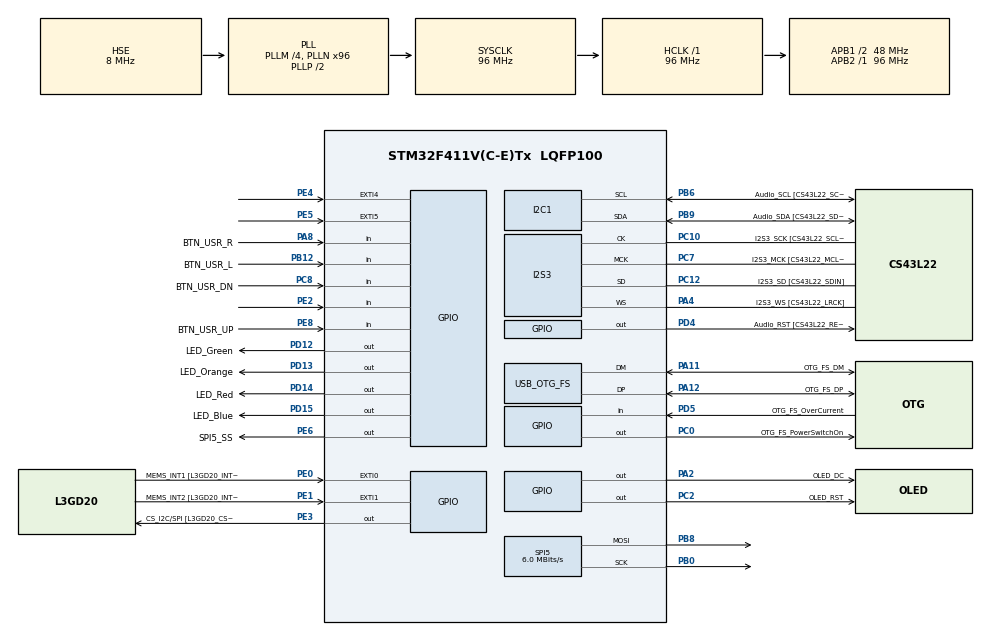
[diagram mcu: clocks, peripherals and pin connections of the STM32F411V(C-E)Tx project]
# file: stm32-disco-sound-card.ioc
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Dma.Request0=SPI3_TX
Dma.Request1=SPI5_TX
Dma.SPI3_TX.0.Direction=DMA_MEMORY_TO_PERIPH
Dma.SPI3_TX.0.FIFOMode=DMA_FIFOMODE_ENABLE
Dma.SPI3_TX.0.FIFOThreshold=DMA_FIFO_THRESHOLD_HALFFULL
Dma.SPI3_TX.0.Instance=DMA1_Stream5
Dma.SPI3_TX.0.MemBurst=DMA_MBURST_SINGLE
Dma.SPI3_TX.0.MemDataAlignment=DMA_MDATAALIGN_HALFWORD
Dma.SPI3_TX.0.MemInc=DMA_MINC_ENABLE
Dma.SPI3_TX.0.Mode=DMA_CIRCULAR
Dma.SPI3_TX.0.PeriphBurst=DMA_PBURST_SINGLE
Dma.SPI3_TX.0.PeriphDataAlignment=DMA_PDATAALIGN_HALFWORD
Dma.SPI3_TX.0.PeriphInc=DMA_PINC_DISABLE
Dma.SPI3_TX.0.Priority=DMA_PRIORITY_HIGH
Dma.SPI5_TX.1.Direction=DMA_MEMORY_TO_PERIPH
Dma.SPI5_TX.1.FIFOMode=DMA_FIFOMODE_ENABLE
Dma.SPI5_TX.1.FIFOThreshold=DMA_FIFO_THRESHOLD_HALFFULL
Dma.SPI5_TX.1.Instance=DMA2_Stream4
Dma.SPI5_TX.1.MemBurst=DMA_MBURST_SINGLE
Dma.SPI5_TX.1.MemDataAlignment=DMA_MDATAALIGN_BYTE
Dma.SPI5_TX.1.MemInc=DMA_MINC_ENABLE
Dma.SPI5_TX.1.Mode=DMA_NORMAL
Dma.SPI5_TX.1.PeriphBurst=DMA_PBURST_SINGLE
Dma.SPI5_TX.1.PeriphDataAlignment=DMA_PDATAALIGN_BYTE
Dma.SPI5_TX.1.PeriphInc=DMA_PINC_DISABLE
Dma.SPI5_TX.1.Priority=DMA_PRIORITY_LOW
I2S3.AudioFreq=I2S_AUDIOFREQ_48K
I2S3.DataFormat=I2S_DATAFORMAT_24B
I2S3.ErrorAudioFreq=0.0 %
I2S3.FullDuplexMode=I2S_FULLDUPLEXMODE_DISABLE
I2S3.Instance=SPI$Index
I2S3.RealAudioFreq=48.0 KHz
I2S3.VirtualMode=I2S_MODE_MASTER
Mcu.Family=STM32F4
Mcu.Name=STM32F411V(C-E)Tx
Mcu.Package=LQFP100
NVIC.DMA1_Stream5_IRQn=true\:0\:0\:false\:false\:true\:false\:true\:true
NVIC.DMA2_Stream4_IRQn=true\:0\:0\:false\:false\:true\:false\:true\:true
NVIC.OTG_FS_IRQn=true\:0\:0\:false\:false\:true\:true\:true\:true
NVIC.PriorityGroup=NVIC_PRIORITYGROUP_0
PA10.GPIO_Label=OTG_FS_ID
PA10.Signal=USB_OTG_FS_ID
PA11.GPIO_Label=OTG_FS_DM
PA11.Mode=Device_Only
PA11.Signal=USB_OTG_FS_DM
PA12.GPIO_Label=OTG_FS_DP
PA12.Mode=Device_Only
PA12.Signal=USB_OTG_FS_DP
PA13.GPIO_Label=SWDIO
PA13.Mode=Serial_Wire
PA13.Signal=SYS_JTMS-SWDIO
PA14.GPIO_Label=SWCLK
PA14.Mode=Serial_Wire
PA14.Signal=SYS_JTCK-SWCLK
PA2.GPIO_Label=OLED_DC
PA2.GPIO_Speed=GPIO_SPEED_FREQ_MEDIUM
PA2.PinState=GPIO_PIN_SET
PA2.Signal=GPIO_Output
PA4.GPIO_Label=I2S3_WS [CS43L22_LRCK]
PA4.GPIO_Mode=GPIO_MODE_AF_PP
PA4.GPIO_PuPd=GPIO_NOPULL
PA4.GPIO_Speed=GPIO_SPEED_FREQ_LOW
PA4.Mode=Half_Duplex_Master
PA4.Signal=I2S3_WS
PA5.GPIO_Label=SPI1_SCK [L3GD20_SC/SPC]
PA5.Signal=SPI1_SCK
PA6.GPIO_Label=SPI1_MISO [L3GD20_AS0/SDO]
PA6.Signal=SPI1_MISO
PA7.GPIO_Label=SPI1_MOSI [L3GD20_SDA/SDI/SDO]
PA7.Signal=SPI1_MOSI
PA8.GPIO_Label=BTN_USR_R
PA8.GPIO_PuPd=GPIO_PULLUP
PA8.Signal=GPIO_Input
PA9.GPIO_Label=VBUS_FS
PA9.Signal=USB_OTG_FS_VBUS
PB0.GPIO_Speed=GPIO_SPEED_FREQ_HIGH
PB0.Mode=TX_Only_Simplex_Unidirect_Master
PB0.Signal=SPI5_SCK
PB10.GPIO_Label=CLK_IN [MP45DT02_CLK]
PB10.Signal=I2S2_CK
PB12.GPIO_Label=BTN_USR_L
PB12.GPIO_Mode=GPIO_MODE_INPUT
PB12.GPIO_PuPd=GPIO_PULLUP
PB12.Signal=GPIO_Input
PB3.GPIO_Label=SWO
PB3.Signal=SYS_JTDO-SWO
PB6.GPIO_Label=Audio_SCL [CS43L22_SCL]
PB6.GPIO_Mode=GPIO_MODE_AF_OD
PB6.GPIO_PuPd=GPIO_NOPULL
PB6.GPIO_Speed=GPIO_SPEED_FREQ_LOW
PB6.Mode=I2C
PB6.Signal=I2C1_SCL
PB8.GPIO_Speed=GPIO_SPEED_FREQ_HIGH
PB8.Mode=TX_Only_Simplex_Unidirect_Master
PB8.Signal=SPI5_MOSI
PB9.GPIO_Label=Audio_SDA [CS43L22_SDA]
PB9.GPIO_Mode=GPIO_MODE_AF_OD
PB9.GPIO_PuPd=GPIO_NOPULL
PB9.GPIO_Speed=GPIO_SPEED_FREQ_LOW
PB9.Mode=I2C
PB9.Signal=I2C1_SDA
PC0.GPIO_Label=OTG_FS_PowerSwitchOn
PC0.PinState=GPIO_PIN_SET
PC0.Signal=GPIO_Output
PC10.GPIO_Label=I2S3_SCK [CS43L22_SCLK]
PC10.GPIO_Mode=GPIO_MODE_AF_PP
PC10.GPIO_PuPd=GPIO_NOPULL
PC10.GPIO_Speed=GPIO_SPEED_FREQ_LOW
PC10.Mode=Half_Duplex_Master
PC10.Signal=I2S3_CK
PC12.GPIO_Label=I2S3_SD [CS43L22_SDIN]
PC12.GPIO_Mode=GPIO_MODE_AF_PP
PC12.GPIO_PuPd=GPIO_NOPULL
PC12.GPIO_Speed=GPIO_SPEED_FREQ_LOW
PC12.Mode=Half_Duplex_Master
PC12.Signal=I2S3_SD
PC14-OSC32_IN.GPIO_Label=PC14-OSC32_IN
PC14-OSC32_IN.Signal=RCC_OSC32_IN
PC15-OSC32_OUT.GPIO_Label=PC15-OSC32_OUT
PC15-OSC32_OUT.Signal=RCC_OSC32_OUT
PC2.GPIO_Label=OLED_RST
PC2.GPIO_Speed=GPIO_SPEED_FREQ_MEDIUM
PC2.Signal=GPIO_Output
PC3.GPIO_Label=PDM_OUT [MP45DT02_DOUT]
PC3.Signal=I2S2_SD
PC7.GPIO_Label=I2S3_MCK [CS43L22_MCLK]
PC7.GPIO_Mode=GPIO_MODE_AF_PP
PC7.GPIO_PuPd=GPIO_NOPULL
PC7.GPIO_Speed=GPIO_SPEED_FREQ_LOW
PC7.Mode=Master_Clock_Activated
PC7.Signal=I2S3_MCK
PC8.GPIO_Label=BTN_USR_DN
PC8.GPIO_PuPd=GPIO_PULLUP
PC8.Signal=GPIO_Input
PD12.GPIO_Label=LED_Green
PD12.GPIO_PuPd=GPIO_NOPULL
PD12.GPIO_Speed=GPIO_SPEED_FREQ_LOW
PD12.Signal=GPIO_Output
PD13.GPIO_Label=LED_Orange
PD13.GPIO_PuPd=GPIO_NOPULL
PD13.GPIO_Speed=GPIO_SPEED_FREQ_LOW
PD13.Signal=GPIO_Output
PD14.GPIO_Label=LED_Red
PD14.GPIO_PuPd=GPIO_NOPULL
PD14.GPIO_Speed=GPIO_SPEED_FREQ_LOW
PD14.Signal=GPIO_Output
PD15.GPIO_Label=LED_Blue
PD15.GPIO_PuPd=GPIO_NOPULL
PD15.GPIO_Speed=GPIO_SPEED_FREQ_LOW
PD15.Signal=GPIO_Output
PD4.GPIO_Label=Audio_RST [CS43L22_RESET]
PD4.Signal=GPIO_Output
PD5.GPIO_Label=OTG_FS_OverCurrent
PD5.Signal=GPIO_Input
PE0.GPIO_Label=MEMS_INT1 [L3GD20_INT1]
PE0.GPIO_ModeDefaultEXTI=GPIO_MODE_EVT_RISING
PE0.Signal=GPXTI0
PE1.GPIO_Label=MEMS_INT2 [L3GD20_INT2]
PE1.GPIO_ModeDefaultEXTI=GPIO_MODE_EVT_RISING
PE1.Signal=GPXTI1
PE2.Signal=GPIO_Input
PE3.GPIO_Label=CS_I2C/SPI [L3GD20_CS_I2C/SPI]
PE3.Signal=GPIO_Output
PE4.GPIO_ModeDefaultEXTI=GPIO_MODE_EVT_RISING
PE4.Signal=GPXTI4
PE5.GPIO_ModeDefaultEXTI=GPIO_MODE_EVT_RISING
PE5.Signal=GPXTI5
PE6.GPIO_Label=SPI5_SS
PE6.GPIO_Speed=GPIO_SPEED_FREQ_MEDIUM
PE6.PinState=GPIO_PIN_SET
PE6.Signal=GPIO_Output
PE8.GPIO_Label=BTN_USR_UP
PE8.GPIO_PuPd=GPIO_PULLUP
PE8.Signal=GPIO_Input
PH0\ -\ OSC_IN.GPIO_Label=PH0-OSC_IN
PH0\ -\ OSC_IN.Mode=HSE-External-Oscillator
PH0\ -\ OSC_IN.Signal=RCC_OSC_IN
PH1\ -\ OSC_OUT.GPIO_Label=PH1-OSC_OUT
PH1\ -\ OSC_OUT.Mode=HSE-External-Oscillator
PH1\ -\ OSC_OUT.Signal=RCC_OSC_OUT
ProjectManager.HeapSize=0x200
ProjectManager.StackSize=0x400
ProjectManager.TargetToolchain=STM32CubeIDE
RCC.48MHZClocksFreq_Value=48000000
RCC.AHBFreq_Value=96000000
RCC.APB1CLKDivider=RCC_HCLK_DIV2
RCC.APB1Freq_Value=48000000
RCC.APB1TimFreq_Value=96000000
RCC.APB2Freq_Value=96000000
RCC.APB2TimFreq_Value=96000000
RCC.CortexFreq_Value=96000000
RCC.HCLKFreq_Value=96000000
RCC.HSE_VALUE=8000000
RCC.HSI_VALUE=16000000
RCC.LSE_VALUE=32768
RCC.PLLI2SM=5
RCC.PLLI2SR=5
RCC.PLLM=4
RCC.PLLN=96
RCC.SYSCLKFreq_VALUE=96000000
RCC.SYSCLKSource=RCC_SYSCLKSOURCE_PLLCLK
RCC.VCOOutputFreq_Value=192000000
SPI5.BaudRatePrescaler=SPI_BAUDRATEPRESCALER_16
SPI5.CalculateBaudRate=6.0 MBits/s
SPI5.Direction=SPI_DIRECTION_2LINES
SPI5.Mode=SPI_MODE_MASTER
SPI5.VirtualType=VM_MASTER
USB_OTG_FS.VirtualMode=Device_Only
board=STM32F411E-DISCO

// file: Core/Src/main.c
/* USER CODE BEGIN Header */
/**
Copyright (c) 2026 tomix89

Permission is hereby granted, free of charge, to any person obtaining a copy
of this software and associated documentation files (the "Software"), to use,
copy, modify, and distribute the Software for non-commercial purposes only,
subject to the following conditions:

1. Attribution: All copies or substantial portions of the Software must
   retain this copyright notice and the original author information.

2. Open-Source Requirement: Any modified versions of the Software must be
   distributed under this same license and made publicly available in source
   form.

3. Non-Commercial Use: The Software may not be used for commercial purposes
   without explicit written permission from the author.

THE SOFTWARE IS PROVIDED "AS IS", WITHOUT WARRANTY OF ANY KIND, EXPRESS OR
IMPLIED, INCLUDING BUT NOT LIMITED TO THE WARRANTIES OF MERCHANTABILITY,
FITNESS FOR A PARTICULAR PURPOSE AND NONINFRINGEMENT. IN NO EVENT SHALL THE
AUTHORS OR COPYRIGHT HOLDERS BE LIABLE FOR ANY CLAIM, DAMAGES OR OTHER
LIABILITY, WHETHER IN AN ACTION OF CONTRACT, TORT OR OTHERWISE, ARISING FROM,
OUT OF OR IN CONNECTION WITH THE SOFTWARE OR THE USE OR OTHER DEALINGS IN THE
SOFTWARE.
  */
/* USER CODE END Header */
#include "main.h"

/* USER CODE BEGIN Includes */
#include "common.h"
#include "bsp/board_api.h"
#include "tusb.h"
#include "common_types.h"
#include "usb_handler.h"
#include "CS43L22_driver.h"
#include "audio_controls.h"
#include "ssd1306.h"
#include "UI_control.h"

/* USER CODE END Includes */

I2C_HandleTypeDef hi2c1;

I2S_HandleTypeDef hi2s3;
DMA_HandleTypeDef hdma_spi3_tx;

SPI_HandleTypeDef hspi5;
DMA_HandleTypeDef hdma_spi5_tx;

PCD_HandleTypeDef hpcd_USB_OTG_FS;

void SystemClock_Config(void);
static void MX_GPIO_Init(void);
static void MX_DMA_Init(void);
static void MX_USB_OTG_FS_PCD_Init(void);
static void MX_I2C1_Init(void);
static void MX_I2S3_Init(void);
static void MX_SPI5_Init(void);

/* USER CODE BEGIN 0 */
#ifdef DEBUG
//--------------- this is only for debug print in the debugger --------------
// https://www.phippselectronics.com/debug-an-stm32-with-printf-using-only-an-st-link/

// goto Run -> Debug Configurations, go to the Debugger tab.
// Enable Serial Wire Viewer (SWV) and then match your system clock frequency to the Core Clock used by SWV.

//To be able to show your printf()s on a console, you must access the SWV ITM Data Console Window.
// While still in Debug (on a pause), go to Window -> Show View -> SWV ITM Data Console

// Configure the SWV ITM Console Window through the configuration button below. (wrench and screw driver)
//  tick port 0 of the ITM Stimulus Ports.
// To run SWV, you must remember to click the Start Trace button.  !!!! this record button (gray circle -> red circle)

int _write(int le, char *ptr, int len) {
	int DataIdx;
	for(DataIdx = 0; DataIdx < len; DataIdx++) {
		ITM_SendChar(*ptr++);
	}

	return len;
}
//--------------- end of debug print in the debugger --------------
#endif
/* USER CODE END 0 */

int main(void)
{

  /* MCU Configuration--------------------------------------------------------*/

  /* Reset of all peripherals, Initializes the Flash interface and the Systick. */
  HAL_Init();

  /* Configure the system clock */
  SystemClock_Config();

  /* Initialize all configured peripherals */
  MX_GPIO_Init();
  MX_DMA_Init();
  MX_USB_OTG_FS_PCD_Init();
  MX_I2C1_Init();
  MX_I2S3_Init();
  MX_SPI5_Init();
  /* USER CODE BEGIN 2 */

  // initialize OLED display
  if (SSD1306_Init(&hspi5) != SSD1306_OK) {
 	Error_Handler();
  }

  // init device stack on configured roothub port
  tusb_rhport_init_t dev_init = {
      .role = TUSB_ROLE_DEVICE,
      .speed = TUSB_SPEED_AUTO};
  tusb_init(BOARD_TUD_RHPORT, &dev_init);
  TU_LOG1("USB running\r\n");

  // init the audio codec
  if (CS43L22_init(&hi2c1, &hi2s3)) {
	  Error_Handler();
  }

  audio_init();
  ui_init();

  printf2("init done\n");
  /* USER CODE END 2 */

  /* Infinite loop */
  while (1)
  {

    /* USER CODE BEGIN 3 */
	  tud_task();// TinyUSB device task
	  led_blinking_task();
	  ui_task();

	  audio_multimedia_keys_task();

	  audio_task();
  }
  /* USER CODE END 3 */
}

void SystemClock_Config(void)
{
  RCC_OscInitTypeDef RCC_OscInitStruct = {0};
  RCC_ClkInitTypeDef RCC_ClkInitStruct = {0};

  /** Configure the main internal regulator output voltage
  */
  __HAL_RCC_PWR_CLK_ENABLE();
  __HAL_PWR_VOLTAGESCALING_CONFIG(PWR_REGULATOR_VOLTAGE_SCALE1);

  /** Initializes the RCC Oscillators according to the specified parameters
  * in the RCC_OscInitTypeDef structure.
  */
  RCC_OscInitStruct.OscillatorType = RCC_OSCILLATORTYPE_HSE;
  RCC_OscInitStruct.HSEState = RCC_HSE_ON;
  RCC_OscInitStruct.PLL.PLLState = RCC_PLL_ON;
  RCC_OscInitStruct.PLL.PLLSource = RCC_PLLSOURCE_HSE;
  RCC_OscInitStruct.PLL.PLLM = 4;
  RCC_OscInitStruct.PLL.PLLN = 96;
  RCC_OscInitStruct.PLL.PLLP = RCC_PLLP_DIV2;
  RCC_OscInitStruct.PLL.PLLQ = 4;
  if (HAL_RCC_OscConfig(&RCC_OscInitStruct) != HAL_OK)
  {
    Error_Handler();
  }

  /** Initializes the CPU, AHB and APB buses clocks
  */
  RCC_ClkInitStruct.ClockType = RCC_CLOCKTYPE_HCLK|RCC_CLOCKTYPE_SYSCLK
                              |RCC_CLOCKTYPE_PCLK1|RCC_CLOCKTYPE_PCLK2;
  RCC_ClkInitStruct.SYSCLKSource = RCC_SYSCLKSOURCE_PLLCLK;
  RCC_ClkInitStruct.AHBCLKDivider = RCC_SYSCLK_DIV1;
  RCC_ClkInitStruct.APB1CLKDivider = RCC_HCLK_DIV2;
  RCC_ClkInitStruct.APB2CLKDivider = RCC_HCLK_DIV1;

  if (HAL_RCC_ClockConfig(&RCC_ClkInitStruct, FLASH_LATENCY_3) != HAL_OK)
  {
    Error_Handler();
  }
}

static void MX_I2C1_Init(void)
{

  hi2c1.Instance = I2C1;
  hi2c1.Init.ClockSpeed = 100000;
  hi2c1.Init.DutyCycle = I2C_DUTYCYCLE_2;
  hi2c1.Init.OwnAddress1 = 0;
  hi2c1.Init.AddressingMode = I2C_ADDRESSINGMODE_7BIT;
  hi2c1.Init.DualAddressMode = I2C_DUALADDRESS_DISABLE;
  hi2c1.Init.OwnAddress2 = 0;
  hi2c1.Init.GeneralCallMode = I2C_GENERALCALL_DISABLE;
  hi2c1.Init.NoStretchMode = I2C_NOSTRETCH_DISABLE;
  if (HAL_I2C_Init(&hi2c1) != HAL_OK)
  {
    Error_Handler();
  }

}

static void MX_I2S3_Init(void)
{

  hi2s3.Instance = SPI3;
  hi2s3.Init.Mode = I2S_MODE_MASTER_TX;
  hi2s3.Init.Standard = I2S_STANDARD_PHILIPS;
  hi2s3.Init.DataFormat = I2S_DATAFORMAT_24B;
  hi2s3.Init.MCLKOutput = I2S_MCLKOUTPUT_ENABLE;
  hi2s3.Init.AudioFreq = I2S_AUDIOFREQ_48K;
  hi2s3.Init.CPOL = I2S_CPOL_LOW;
  hi2s3.Init.ClockSource = I2S_CLOCK_PLL;
  hi2s3.Init.FullDuplexMode = I2S_FULLDUPLEXMODE_DISABLE;
  if (HAL_I2S_Init(&hi2s3) != HAL_OK)
  {
    Error_Handler();
  }

}

static void MX_SPI5_Init(void)
{

  /* SPI5 parameter configuration*/
  hspi5.Instance = SPI5;
  hspi5.Init.Mode = SPI_MODE_MASTER;
  hspi5.Init.Direction = SPI_DIRECTION_2LINES;
  hspi5.Init.DataSize = SPI_DATASIZE_8BIT;
  hspi5.Init.CLKPolarity = SPI_POLARITY_LOW;
  hspi5.Init.CLKPhase = SPI_PHASE_1EDGE;
  hspi5.Init.NSS = SPI_NSS_SOFT;
  hspi5.Init.BaudRatePrescaler = SPI_BAUDRATEPRESCALER_16;
  hspi5.Init.FirstBit = SPI_FIRSTBIT_MSB;
  hspi5.Init.TIMode = SPI_TIMODE_DISABLE;
  hspi5.Init.CRCCalculation = SPI_CRCCALCULATION_DISABLE;
  hspi5.Init.CRCPolynomial = 10;
  if (HAL_SPI_Init(&hspi5) != HAL_OK)
  {
    Error_Handler();
  }

}

static void MX_USB_OTG_FS_PCD_Init(void)
{

  hpcd_USB_OTG_FS.Instance = USB_OTG_FS;
  hpcd_USB_OTG_FS.Init.dev_endpoints = 4;
  hpcd_USB_OTG_FS.Init.speed = PCD_SPEED_FULL;
  hpcd_USB_OTG_FS.Init.dma_enable = DISABLE;
  hpcd_USB_OTG_FS.Init.phy_itface = PCD_PHY_EMBEDDED;
  hpcd_USB_OTG_FS.Init.Sof_enable = DISABLE;
  hpcd_USB_OTG_FS.Init.low_power_enable = DISABLE;
  hpcd_USB_OTG_FS.Init.lpm_enable = DISABLE;
  hpcd_USB_OTG_FS.Init.vbus_sensing_enable = DISABLE;
  hpcd_USB_OTG_FS.Init.use_dedicated_ep1 = DISABLE;
  if (HAL_PCD_Init(&hpcd_USB_OTG_FS) != HAL_OK)
  {
    Error_Handler();
  }

}

static void MX_DMA_Init(void)
{

  /* DMA controller clock enable */
  __HAL_RCC_DMA1_CLK_ENABLE();
  __HAL_RCC_DMA2_CLK_ENABLE();

  /* DMA interrupt init */
  /* DMA1_Stream5_IRQn interrupt configuration */
  HAL_NVIC_SetPriority(DMA1_Stream5_IRQn, 0, 0);
  HAL_NVIC_EnableIRQ(DMA1_Stream5_IRQn);
  /* DMA2_Stream4_IRQn interrupt configuration */
  HAL_NVIC_SetPriority(DMA2_Stream4_IRQn, 0, 0);
  HAL_NVIC_EnableIRQ(DMA2_Stream4_IRQn);

}

static void MX_GPIO_Init(void)
{
  GPIO_InitTypeDef GPIO_InitStruct = {0};

  /* GPIO Ports Clock Enable */
  __HAL_RCC_GPIOE_CLK_ENABLE();
  __HAL_RCC_GPIOC_CLK_ENABLE();
  __HAL_RCC_GPIOH_CLK_ENABLE();
  __HAL_RCC_GPIOA_CLK_ENABLE();
  __HAL_RCC_GPIOB_CLK_ENABLE();
  __HAL_RCC_GPIOD_CLK_ENABLE();

  /*Configure GPIO pin Output Level */
  HAL_GPIO_WritePin(CS_I2C_SPI_GPIO_Port, CS_I2C_SPI_Pin, GPIO_PIN_RESET);

  /*Configure GPIO pin Output Level */
  HAL_GPIO_WritePin(SPI5_SS_GPIO_Port, SPI5_SS_Pin, GPIO_PIN_SET);

  /*Configure GPIO pin Output Level */
  HAL_GPIO_WritePin(OTG_FS_PowerSwitchOn_GPIO_Port, OTG_FS_PowerSwitchOn_Pin, GPIO_PIN_SET);

  /*Configure GPIO pin Output Level */
  HAL_GPIO_WritePin(OLED_RST_GPIO_Port, OLED_RST_Pin, GPIO_PIN_RESET);

  /*Configure GPIO pin Output Level */
  HAL_GPIO_WritePin(OLED_DC_GPIO_Port, OLED_DC_Pin, GPIO_PIN_SET);

  /*Configure GPIO pin Output Level */
  HAL_GPIO_WritePin(GPIOD, LED_Green_Pin|LED_Orange_Pin|LED_Red_Pin|LED_Blue_Pin
                          |Audio_RST_Pin, GPIO_PIN_RESET);

  /*Configure GPIO pin : PE2 */
  GPIO_InitStruct.Pin = GPIO_PIN_2;
  GPIO_InitStruct.Mode = GPIO_MODE_INPUT;
  GPIO_InitStruct.Pull = GPIO_NOPULL;
  HAL_GPIO_Init(GPIOE, &GPIO_InitStruct);

  /*Configure GPIO pin : CS_I2C_SPI_Pin */
  GPIO_InitStruct.Pin = CS_I2C_SPI_Pin;
  GPIO_InitStruct.Mode = GPIO_MODE_OUTPUT_PP;
  GPIO_InitStruct.Pull = GPIO_NOPULL;
  GPIO_InitStruct.Speed = GPIO_SPEED_FREQ_LOW;
  HAL_GPIO_Init(CS_I2C_SPI_GPIO_Port, &GPIO_InitStruct);

  /*Configure GPIO pins : PE4 PE5 MEMS_INT1_Pin MEMS_INT2_Pin */
  GPIO_InitStruct.Pin = GPIO_PIN_4|GPIO_PIN_5|MEMS_INT1_Pin|MEMS_INT2_Pin;
  GPIO_InitStruct.Mode = GPIO_MODE_EVT_RISING;
  GPIO_InitStruct.Pull = GPIO_NOPULL;
  HAL_GPIO_Init(GPIOE, &GPIO_InitStruct);

  /*Configure GPIO pin : SPI5_SS_Pin */
  GPIO_InitStruct.Pin = SPI5_SS_Pin;
  GPIO_InitStruct.Mode = GPIO_MODE_OUTPUT_PP;
  GPIO_InitStruct.Pull = GPIO_NOPULL;
  GPIO_InitStruct.Speed = GPIO_SPEED_FREQ_MEDIUM;
  HAL_GPIO_Init(SPI5_SS_GPIO_Port, &GPIO_InitStruct);

  /*Configure GPIO pin : OTG_FS_PowerSwitchOn_Pin */
  GPIO_InitStruct.Pin = OTG_FS_PowerSwitchOn_Pin;
  GPIO_InitStruct.Mode = GPIO_MODE_OUTPUT_PP;
  GPIO_InitStruct.Pull = GPIO_NOPULL;
  GPIO_InitStruct.Speed = GPIO_SPEED_FREQ_LOW;
  HAL_GPIO_Init(OTG_FS_PowerSwitchOn_GPIO_Port, &GPIO_InitStruct);

  /*Configure GPIO pin : OLED_RST_Pin */
  GPIO_InitStruct.Pin = OLED_RST_Pin;
  GPIO_InitStruct.Mode = GPIO_MODE_OUTPUT_PP;
  GPIO_InitStruct.Pull = GPIO_NOPULL;
  GPIO_InitStruct.Speed = GPIO_SPEED_FREQ_MEDIUM;
  HAL_GPIO_Init(OLED_RST_GPIO_Port, &GPIO_InitStruct);

  /*Configure GPIO pin : PDM_OUT_Pin */
  GPIO_InitStruct.Pin = PDM_OUT_Pin;
  GPIO_InitStruct.Mode = GPIO_MODE_AF_PP;
  GPIO_InitStruct.Pull = GPIO_NOPULL;
  GPIO_InitStruct.Speed = GPIO_SPEED_FREQ_LOW;
  GPIO_InitStruct.Alternate = GPIO_AF5_SPI2;
  HAL_GPIO_Init(PDM_OUT_GPIO_Port, &GPIO_InitStruct);

  /*Configure GPIO pin : OLED_DC_Pin */
  GPIO_InitStruct.Pin = OLED_DC_Pin;
  GPIO_InitStruct.Mode = GPIO_MODE_OUTPUT_PP;
  GPIO_InitStruct.Pull = GPIO_NOPULL;
  GPIO_InitStruct.Speed = GPIO_SPEED_FREQ_MEDIUM;
  HAL_GPIO_Init(OLED_DC_GPIO_Port, &GPIO_InitStruct);

  /*Configure GPIO pins : SPI1_SCK_Pin SPI1_MISO_Pin SPI1_MOSI_Pin */
  GPIO_InitStruct.Pin = SPI1_SCK_Pin|SPI1_MISO_Pin|SPI1_MOSI_Pin;
  GPIO_InitStruct.Mode = GPIO_MODE_AF_PP;
  GPIO_InitStruct.Pull = GPIO_NOPULL;
  GPIO_InitStruct.Speed = GPIO_SPEED_FREQ_VERY_HIGH;
  GPIO_InitStruct.Alternate = GPIO_AF5_SPI1;
  HAL_GPIO_Init(GPIOA, &GPIO_InitStruct);

  /*Configure GPIO pin : BTN_USR_UP_Pin */
  GPIO_InitStruct.Pin = BTN_USR_UP_Pin;
  GPIO_InitStruct.Mode = GPIO_MODE_INPUT;
  GPIO_InitStruct.Pull = GPIO_PULLUP;
  HAL_GPIO_Init(BTN_USR_UP_GPIO_Port, &GPIO_InitStruct);

  /*Configure GPIO pin : CLK_IN_Pin */
  GPIO_InitStruct.Pin = CLK_IN_Pin;
  GPIO_InitStruct.Mode = GPIO_MODE_AF_PP;
  GPIO_InitStruct.Pull = GPIO_NOPULL;
  GPIO_InitStruct.Speed = GPIO_SPEED_FREQ_LOW;
  GPIO_InitStruct.Alternate = GPIO_AF5_SPI2;
  HAL_GPIO_Init(CLK_IN_GPIO_Port, &GPIO_InitStruct);

  /*Configure GPIO pin : BTN_USR_L_Pin */
  GPIO_InitStruct.Pin = BTN_USR_L_Pin;
  GPIO_InitStruct.Mode = GPIO_MODE_INPUT;
  GPIO_InitStruct.Pull = GPIO_PULLUP;
  HAL_GPIO_Init(BTN_USR_L_GPIO_Port, &GPIO_InitStruct);

  /*Configure GPIO pins : LED_Green_Pin LED_Orange_Pin LED_Red_Pin LED_Blue_Pin
                           Audio_RST_Pin */
  GPIO_InitStruct.Pin = LED_Green_Pin|LED_Orange_Pin|LED_Red_Pin|LED_Blue_Pin
                          |Audio_RST_Pin;
  GPIO_InitStruct.Mode = GPIO_MODE_OUTPUT_PP;
  GPIO_InitStruct.Pull = GPIO_NOPULL;
  GPIO_InitStruct.Speed = GPIO_SPEED_FREQ_LOW;
  HAL_GPIO_Init(GPIOD, &GPIO_InitStruct);

  /*Configure GPIO pin : BTN_USR_DN_Pin */
  GPIO_InitStruct.Pin = BTN_USR_DN_Pin;
  GPIO_InitStruct.Mode = GPIO_MODE_INPUT;
  GPIO_InitStruct.Pull = GPIO_PULLUP;
  HAL_GPIO_Init(BTN_USR_DN_GPIO_Port, &GPIO_InitStruct);

  /*Configure GPIO pin : BTN_USR_R_Pin */
  GPIO_InitStruct.Pin = BTN_USR_R_Pin;
  GPIO_InitStruct.Mode = GPIO_MODE_INPUT;
  GPIO_InitStruct.Pull = GPIO_PULLUP;
  HAL_GPIO_Init(BTN_USR_R_GPIO_Port, &GPIO_InitStruct);

  /*Configure GPIO pin : OTG_FS_OverCurrent_Pin */
  GPIO_InitStruct.Pin = OTG_FS_OverCurrent_Pin;
  GPIO_InitStruct.Mode = GPIO_MODE_INPUT;
  GPIO_InitStruct.Pull = GPIO_NOPULL;
  HAL_GPIO_Init(OTG_FS_OverCurrent_GPIO_Port, &GPIO_InitStruct);

  /* USER CODE BEGIN MX_GPIO_Init_2 */

  /*Configure GPIO pins : OLED_NSS */
  GPIO_InitStruct.Pin = GPIO_PIN_12;
  GPIO_InitStruct.Mode = GPIO_MODE_INPUT;
  GPIO_InitStruct.Pull = GPIO_PULLUP;
  GPIO_InitStruct.Speed = GPIO_SPEED_FREQ_MEDIUM;
  HAL_GPIO_Init(GPIOB, &GPIO_InitStruct);

  /* USER CODE END MX_GPIO_Init_2 */
}

/* USER CODE BEGIN 4 */
// use only for the Error_Handler() !!!
void delay(volatile uint32_t t) {
	while(t--) {
		__asm__("nop");
	}
}
/* USER CODE END 4 */

void Error_Handler(void)
{
  /* USER CODE BEGIN Error_Handler_Debug */
  /* User can add his own implementation to report the HAL error return state */
  __disable_irq();

  HAL_GPIO_WritePin(LED_Green_GPIO_Port,  LED_Green_Pin,  GPIO_PIN_RESET);
  HAL_GPIO_WritePin(LED_Orange_GPIO_Port, LED_Orange_Pin, GPIO_PIN_RESET);
  HAL_GPIO_WritePin(LED_Blue_GPIO_Port,   LED_Blue_Pin,   GPIO_PIN_RESET);

  // gives a reasonable blink time in both DEBUG and RELEASE
#ifdef DEBUG
  uint32_t blink_amount = HAL_RCC_GetHCLKFreq() / 10;
#else
  uint32_t blink_amount = HAL_RCC_GetHCLKFreq() / 6;
#endif

  // can't use HAL_Delay(Delay) because we just disabled the interrupts
  while (1) {
	// LD5_Pin = Red LED
	HAL_GPIO_WritePin(LED_Red_GPIO_Port, LED_Red_Pin , GPIO_PIN_SET);
	delay(blink_amount);
	HAL_GPIO_WritePin(LED_Red_GPIO_Port, LED_Red_Pin , GPIO_PIN_RESET);
	delay(blink_amount);
  }
  /* USER CODE END Error_Handler_Debug */
}
